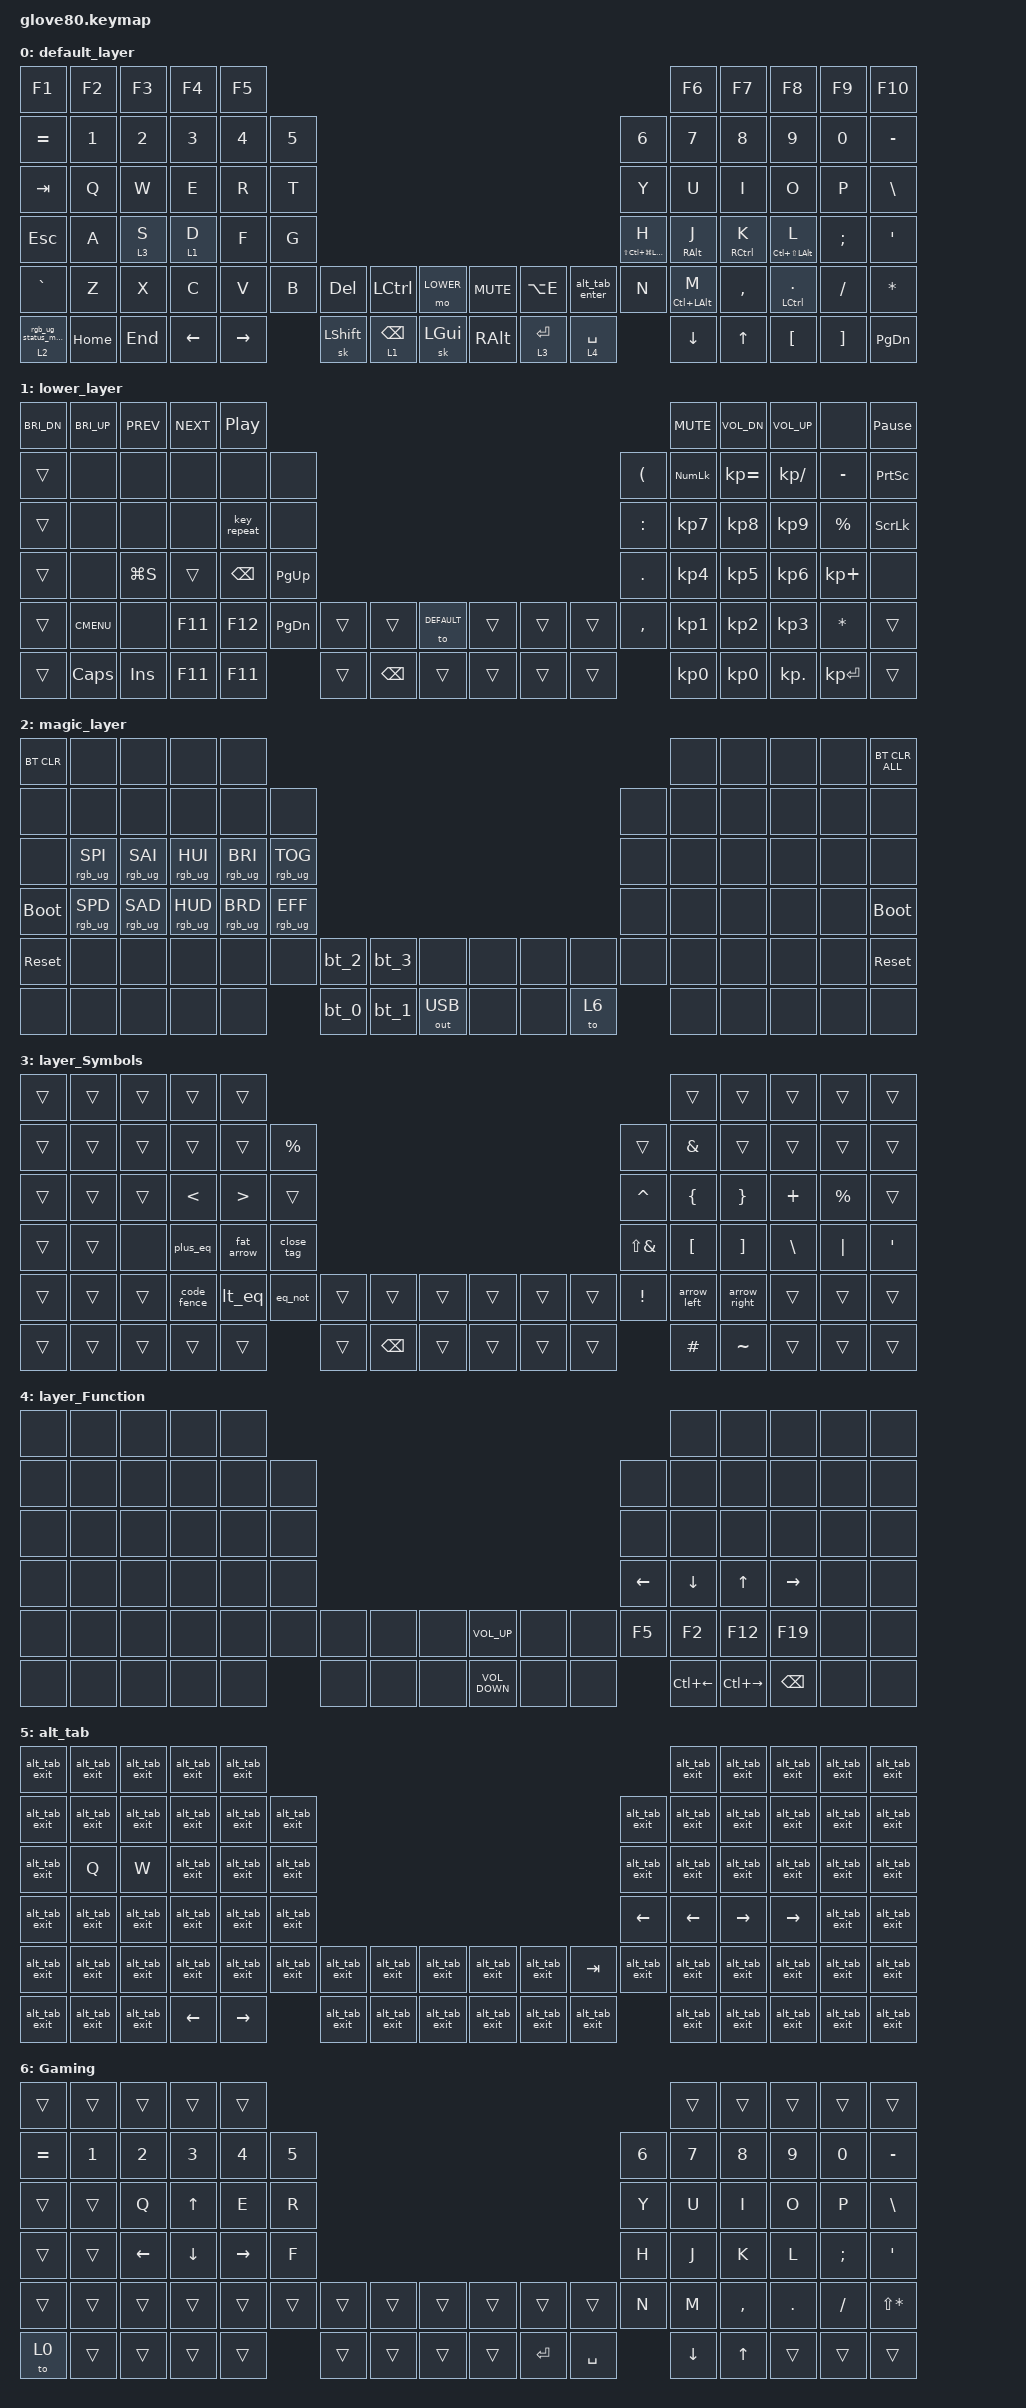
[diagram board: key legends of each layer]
/*
 * Copyright (c) 2020 The ZMK Contributors
 *
 * SPDX-License-Identifier: MIT
 */

#include <behaviors.dtsi>
#include <dt-bindings/zmk/bt.h>
#include <dt-bindings/zmk/keys.h>
#include <dt-bindings/zmk/outputs.h>
#include <dt-bindings/zmk/rgb.h>

#define HYPER LC(LS(LG(LALT)))

// layers

#define DEFAULT 0
#define LOWER 1
#define MAGIC 2
#define FACTORY_TEST 3

/* Custom Defined Behaviors */

#define HRM_QUICK_TAP_MS 0
#define HRM_TAPPING_TERM_MS 250
#define HRM_REQUIRE_IDLE_MS 150
#define COMBO_TIMEOUT_MS 50
#define MACRO_WAIT_MS 30
#define MACRO_TAP_MS 30

/ {
    behaviors {
        // For the "layer" key, it'd nice to be able to use it as either a shift or a toggle.
        // Configure it as a tap dance, so the first tap (or hold) is a &mo and the second tap is a &to

        layer_td: tap_dance_0 {
            compatible = "zmk,behavior-tap-dance";
            label = "LAYER_TAP_DANCE";
            #binding-cells = <0>;
            tapping-term-ms = <200>;
            bindings = <&mo LOWER>, <&to LOWER>;
        };

        magic: magic_hold_tap {
            compatible = "zmk,behavior-hold-tap";
            label = "MAGIC_HOLD_TAP";
            #binding-cells = <2>;
            flavor = "tap-preferred";
            tapping-term-ms = <200>;
            bindings = <&mo>, <&rgb_ug_status_macro>;
        };

        ht: hold_tap {
            compatible = "zmk,behavior-hold-tap";
            label = "HOMEROW_MODS";
            #binding-cells = <2>;
            tapping-term-ms = <HRM_TAPPING_TERM_MS>;
            quick-tap-ms = <HRM_QUICK_TAP_MS>;
            require-prior-idle-ms = <HRM_REQUIRE_IDLE_MS>;
            flavor = "tap-preferred";
            bindings = <&kp>, <&kp>;
        };
    };

    macros {
        rgb_ug_status_macro: rgb_ug_status_macro_0 {
            label = "RGB_UG_STATUS";
            compatible = "zmk,behavior-macro";
            #binding-cells = <0>;
            bindings = <&rgb_ug RGB_STATUS>;
        };

        bt_0: bt_profile_macro_0 {
            label = "BT_0";
            compatible = "zmk,behavior-macro";
            #binding-cells = <0>;
            bindings = <&out OUT_BLE &bt BT_SEL 0>;
        };

        bt_1: bt_profile_macro_1 {
            label = "BT_1";
            compatible = "zmk,behavior-macro";
            #binding-cells = <0>;
            bindings = <&out OUT_BLE &bt BT_SEL 1>;
        };

        bt_2: bt_profile_macro_2 {
            label = "BT_2";
            compatible = "zmk,behavior-macro";
            #binding-cells = <0>;
            bindings = <&out OUT_BLE &bt BT_SEL 2>;
        };

        bt_3: bt_profile_macro_3 {
            label = "BT_3";
            compatible = "zmk,behavior-macro";
            #binding-cells = <0>;
            bindings = <&out OUT_BLE &bt BT_SEL 3>;
        };

        fat_arrow: fat_arrow {
            label = "fat_arrow";
            compatible = "zmk,behavior-macro";
            wait-ms = <40>;
            tap-ms = <40>;
            #binding-cells = <0>;
            bindings = <&kp EQUAL &kp GREATER_THAN>;
        };

        arrow_left: arrow_left {
            compatible = "zmk,behavior-macro";
            #binding-cells = <0>;
            bindings = <&kp LT &kp MINUS>;
            label = "ARROW_LEFT";
        };

        arrow_right: arrow_right {
            compatible = "zmk,behavior-macro";
            #binding-cells = <0>;
            bindings = <&kp MINUS &kp GT>;
            label = "ARROW_RIGHT";
        };

        eq_colon: eq_colon {
            compatible = "zmk,behavior-macro";
            #binding-cells = <0>;
            bindings = <&kp COLON &kp EQUAL>;
            label = "EQ_COLON";
        };

        eq_not: eq_not {
            compatible = "zmk,behavior-macro";
            #binding-cells = <0>;
            bindings = <&kp EXCL &kp EQUAL>;
            label = "EQ_NOT";
        };

        enie_macro: enie_macro {
            compatible = "zmk,behavior-macro";
            #binding-cells = <0>;
            bindings = <&kp LA(N) &kp N>;
            label = "ENIE_MACRO";
        };

        alt_tab_enter: alt_tab_toggle {
            compatible = "zmk,behavior-macro";
            #binding-cells = <0>;
            bindings = <&kt LGUI &kp TAB &to 5>;
            label = "ALT_TAB_TOGGLE";
        };

        alt_tab_exit: alt_tab_exit {
            compatible = "zmk,behavior-macro";
            #binding-cells = <0>;
            bindings = <&kt LGUI &tog 5>;
            label = "ALT_TAB_EXIT";
        };

        code_fence: code_fence {
            compatible = "zmk,behavior-macro";
            #binding-cells = <0>;
            bindings = <&kp GRAVE &kp GRAVE &kp GRAVE>;
            label = "CODE_FENCE";
        };

        lt_eq: lt_eq {
            compatible = "zmk,behavior-macro";
            #binding-cells = <0>;
            bindings = <&kp LT &kp EQUAL>;
            label = "LT_EQ";
        };

        plus_eq: plus_eq {
            compatible = "zmk,behavior-macro";
            #binding-cells = <0>;
            bindings = <&kp PLUS &kp EQUAL>;
            label = "PLUS_EQ";
        };

        close_tag: close_tag {
            compatible = "zmk,behavior-macro";
            #binding-cells = <0>;
            bindings = <&kp FSLH &kp GT>;
            label = "CLOSE_TAG";
        };
    };

    combos {
        compatible = "zmk,combos";

        // Combo positions defined here:
        // https://github.com/moergo-sc/zmk/blob/main/app/boards/arm/glove80/glove80.dtsi#L24-L29

        combo_double_quote {
            bindings = <&kp LS(SQT)>;
            key-positions = <36 38>;
            layers = <0>;
            timeout-ms = <COMBO_TIMEOUT_MS>;
        };

        combo_rparen {
            bindings = <&kp RPAR>;
            key-positions = <42 43>;
            layers = <0>;
            timeout-ms = <COMBO_TIMEOUT_MS>;
        };

        combo_minus {
            bindings = <&kp MINUS>;
            key-positions = <41 43>;
            layers = <0>;
            timeout-ms = <COMBO_TIMEOUT_MS>;
        };

        combo_lparen {
            bindings = <&kp LPAR>;
            key-positions = <41 42>;
            layers = <0>;
            timeout-ms = <COMBO_TIMEOUT_MS>;
        };

        // Left hand bottom row: text editing

        combo_undo {
            bindings = <&kp LC(Z)>;
            key-positions = <47 48>;
            layers = <0>;
            timeout-ms = <COMBO_TIMEOUT_MS>;
        };

        combo_copy {
            bindings = <&kp RG(C)>;
            key-positions = <48 49>;
            layers = <0>;
            timeout-ms = <COMBO_TIMEOUT_MS>;
        };

        combo_cut {
            bindings = <&kp LG(X)>;
            key-positions = <50 48>;
            layers = <0>;
            timeout-ms = <COMBO_TIMEOUT_MS>;
        };

        combo_select_all {
            bindings = <&kp RG(A)>;
            key-positions = <47 50>;
            layers = <0>;
            timeout-ms = <COMBO_TIMEOUT_MS>;
        };

        combo_paste {
            bindings = <&kp RG(V)>;
            key-positions = <49 50>;
            layers = <0>;
            timeout-ms = <COMBO_TIMEOUT_MS>;
        };

        super_paste {
            bindings = <&kp RG(RA(V))>;
            key-positions = <50 51>;
            layers = <0>;
            timeout-ms = <COMBO_TIMEOUT_MS>;
        };

        dollar {
            bindings = <&kp DOLLAR>;
            key-positions = <58 59>;
        };

        brace_L {
            bindings = <&kp LEFT_BRACE>;
            key-positions = <59 60>;
        };

        brace_R {
            bindings = <&kp RIGHT_BRACE>;
            key-positions = <60 61>;
        };

        underscore {
            bindings = <&kp UNDERSCORE>;
            key-positions = <60 61 59>;
        };

        palote {
            bindings = <&kp PIPE>;
            key-positions = <42 59>;
            timeout-ms = <COMBO_TIMEOUT_MS>;
            layers = <0>;
        };

        arroba {
            bindings = <&kp AT_SIGN>;
            key-positions = <24 25>;
            timeout-ms = <COMBO_TIMEOUT_MS>;
            layers = <0>;
        };

        spa_tild {
            bindings = <&kp RA(E)>;
            key-positions = <37 38>;
        };

        enie {
            bindings = <&enie_macro>;
            key-positions = <58 40>;
        };

        l_bracket {
            bindings = <&kp LEFT_BRACKET>;
            key-positions = <41 40>;
            timeout-ms = <COMBO_TIMEOUT_MS>;
            layers = <0>;
        };

        r_bracket {
            bindings = <&kp RIGHT_BRACKET>;
            key-positions = <28 29>;
            timeout-ms = <COMBO_TIMEOUT_MS>;
            layers = <0>;
        };

        alt_control {
            bindings = <&sk LA(LEFT_CONTROL)>;
            key-positions = <25 26>;
        };

        equal {
            bindings = <&kp EQUAL>;
            key-positions = <41 30>;
        };

        tilde {
            bindings = <&kp TILDE>;
            key-positions = <31 29>;
        };
    };

    /* Automatically generated keymap */

    keymap {
        compatible = "zmk,keymap";

        default_layer {
            // ---------------------------------------------------------------------------------------------------------------------------------
            // |  F1   |  F2 |  F3 |  F4  |  F5  |                                                               |  F6   |  F7   |  F8  |   F9  |  F10 |
            // |  =    |  1  |  2  |  3   |  4   |  5   |                                                 |  6   |   7   |   8   |  9   |   0   |   -  |
            // |  TAB  |  Q  |  W  |  E   |  R   |  T   |                                                 |  Y   |   U   |   I   |  O   |   P   |   \  |
            // |  ESC  |  A  |  S  |  D   |  F   |  G   |                                                 |  H   |   J   |   K   |  L   |   ;   |   '  |
            // |   `   |  Z  |  X  |  C   |  V   |  B   | LSHFT | LCTRL | LOWER | | LGUI  | RCTRL | RSHFT |  N   |   M   |   ,   |  .   |   /   | PGUP |
            // | MAGIC | HOME| END | LEFT | RIGHT|      | BSPC  | DEL   | LALT  | | RALT  | RET   | SPACE |      |  UP   | DOWN  |  [   |   ]   | PGDN |

            bindings = <
&kp F1      &kp F2    &kp F3   &kp F4    &kp F5                                                                                                              &kp F6           &kp F7               &kp F8                &kp F9    &kp F10
&kp EQUAL   &kp N1    &kp N2   &kp N3    &kp N4     &kp N5                                                                           &kp N6                  &kp N7           &kp N8               &kp N9                &kp N0    &kp MINUS
&kp TAB     &kp Q     &kp W    &kp E     &kp R      &kp T                                                                            &kp Y                   &kp U            &kp I                &kp O                 &kp P     &kp BSLH
&kp ESC     &kp A     &lt 3 S  &lt 1 D   &kp F      &kp G                                                                            &ht LS(LC(LG(LALT))) H  &ht RIGHT_ALT J  &ht RIGHT_CONTROL K  &ht LC(LS(LALT)) L    &kp SEMI  &kp SQT
&kp GRAVE   &kp Z     &kp X    &kp C     &kp V      &kp B   &kp DEL    &kp LCTRL   &mo LOWER  &kp K_MUTE  &kp LA(E)  &alt_tab_enter  &kp N                   &ht LC(LALT) M   &kp COMMA            &ht LEFT_CONTROL DOT  &kp FSLH  &kp ASTERISK
&magic 2 0  &kp HOME  &kp END  &kp LEFT  &kp RIGHT          &sk LSHFT  &lt 1 BSPC  &sk LGUI   &kp RALT    &lt 3 RET  &lt 4 SPACE                             &kp DOWN         &kp UP               &kp LBKT              &kp RBKT  &kp PG_DN
            >;
        };

        lower_layer {
            bindings = <
&kp C_BRI_DN  &kp C_BRI_UP  &kp C_PREV  &kp C_NEXT  &kp C_PP                                                                                         &kp C_MUTE  &kp C_VOL_DN  &kp C_VOL_UP   &none         &kp PAUSE_BREAK
&trans        &none         &none       &none       &none          &none                                                                  &kp LPAR   &kp KP_NUM  &kp KP_EQUAL  &kp KP_DIVIDE  &kp MINUS     &kp PSCRN
&trans        &none         &none       &none       &key_repeat    &none                                                                  &kp COLON  &kp KP_N7   &kp KP_N8     &kp KP_N9      &kp PERCENT   &kp SLCK
&trans        &none         &kp LG(S)   &trans      &kp BACKSPACE  &kp PG_UP                                                              &kp DOT    &kp KP_N4   &kp KP_N5     &kp KP_N6      &kp KP_PLUS   &none
&trans        &kp K_CMENU   &none       &kp F11     &kp F12        &kp PG_DN  &trans  &trans         &to DEFAULT  &trans  &trans  &trans  &kp COMMA  &kp KP_N1   &kp KP_N2     &kp KP_N3      &kp STAR      &trans
&trans        &kp CAPS      &kp INS     &kp F11     &kp F11                   &trans  &kp BACKSPACE  &trans       &trans  &trans  &trans             &kp KP_N0   &kp KP_N0     &kp KP_DOT     &kp KP_ENTER  &trans
            >;
        };

        magic_layer {
            bindings = <
&bt BT_CLR   &none            &none            &none            &none                                                                                     &none  &none  &none  &none  &bt BT_CLR_ALL
&none        &none            &none            &none            &none            &none                                                             &none  &none  &none  &none  &none  &none
&none        &rgb_ug RGB_SPI  &rgb_ug RGB_SAI  &rgb_ug RGB_HUI  &rgb_ug RGB_BRI  &rgb_ug RGB_TOG                                                   &none  &none  &none  &none  &none  &none
&bootloader  &rgb_ug RGB_SPD  &rgb_ug RGB_SAD  &rgb_ug RGB_HUD  &rgb_ug RGB_BRD  &rgb_ug RGB_EFF                                                   &none  &none  &none  &none  &none  &bootloader
&sys_reset   &none            &none            &none            &none            &none            &bt_2  &bt_3  &none         &none  &none  &none  &none  &none  &none  &none  &none  &sys_reset
&none        &none            &none            &none            &none                             &bt_0  &bt_1  &out OUT_USB  &none  &none  &to 6         &none  &none  &none  &none  &none
            >;
        };

        layer_Symbols {
            bindings = <
&trans  &trans  &trans  &trans         &trans                                                                                                 &trans          &trans           &trans    &trans       &trans
&trans  &trans  &trans  &trans         &trans            &kp PERCENT                                                         &trans           &kp AMPERSAND   &trans           &trans    &trans       &trans
&trans  &trans  &trans  &kp LESS_THAN  &kp GREATER_THAN  &trans                                                              &kp CARET        &kp LEFT_BRACE  &kp RIGHT_BRACE  &kp PLUS  &kp PERCENT  &trans
&trans  &trans  &none   &plus_eq       &fat_arrow        &close_tag                                                          &kp LS(AMPS)     &kp LBKT        &kp RBKT         &kp BSLH  &kp PIPE     &kp SQT
&trans  &trans  &trans  &code_fence    &lt_eq            &eq_not      &trans  &trans         &trans  &trans  &trans  &trans  &kp EXCLAMATION  &arrow_left     &arrow_right     &trans    &trans       &trans
&trans  &trans  &trans  &trans         &trans                         &trans  &kp BACKSPACE  &trans  &trans  &trans  &trans                   &kp HASH        &kp TILDE        &trans    &trans       &trans
            >;
        };

        layer_Function {
            bindings = <
&none  &none  &none  &none  &none                                                                         &none         &none          &none          &none  &none
&none  &none  &none  &none  &none  &none                                                        &none     &none         &none          &none          &none  &none
&none  &none  &none  &none  &none  &none                                                        &none     &none         &none          &none          &none  &none
&none  &none  &none  &none  &none  &none                                                        &kp LEFT  &kp DOWN      &kp UP_ARROW   &kp RIGHT      &none  &none
&none  &none  &none  &none  &none  &none  &none  &none  &none  &kp C_VOLUME_UP    &none  &none  &kp F5    &kp F2        &kp F12        &kp F19        &none  &none
&none  &none  &none  &none  &none         &none  &none  &none  &kp C_VOLUME_DOWN  &none  &none            &kp LC(LEFT)  &kp LC(RIGHT)  &kp BACKSPACE  &none  &none
            >;
        };

        alt_tab {
            bindings = <
&alt_tab_exit  &alt_tab_exit  &alt_tab_exit  &alt_tab_exit   &alt_tab_exit                                                                                                                            &alt_tab_exit  &alt_tab_exit  &alt_tab_exit  &alt_tab_exit  &alt_tab_exit
&alt_tab_exit  &alt_tab_exit  &alt_tab_exit  &alt_tab_exit   &alt_tab_exit    &alt_tab_exit                                                                                            &alt_tab_exit  &alt_tab_exit  &alt_tab_exit  &alt_tab_exit  &alt_tab_exit  &alt_tab_exit
&alt_tab_exit  &kp Q          &kp W          &alt_tab_exit   &alt_tab_exit    &alt_tab_exit                                                                                            &alt_tab_exit  &alt_tab_exit  &alt_tab_exit  &alt_tab_exit  &alt_tab_exit  &alt_tab_exit
&alt_tab_exit  &alt_tab_exit  &alt_tab_exit  &alt_tab_exit   &alt_tab_exit    &alt_tab_exit                                                                                            &kp LEFT       &kp LEFT       &kp RIGHT      &kp RIGHT      &alt_tab_exit  &alt_tab_exit
&alt_tab_exit  &alt_tab_exit  &alt_tab_exit  &alt_tab_exit   &alt_tab_exit    &alt_tab_exit  &alt_tab_exit  &alt_tab_exit  &alt_tab_exit  &alt_tab_exit  &alt_tab_exit  &kp TAB        &alt_tab_exit  &alt_tab_exit  &alt_tab_exit  &alt_tab_exit  &alt_tab_exit  &alt_tab_exit
&alt_tab_exit  &alt_tab_exit  &alt_tab_exit  &kp LEFT_ARROW  &kp RIGHT_ARROW                 &alt_tab_exit  &alt_tab_exit  &alt_tab_exit  &alt_tab_exit  &alt_tab_exit  &alt_tab_exit                 &alt_tab_exit  &alt_tab_exit  &alt_tab_exit  &alt_tab_exit  &alt_tab_exit
            >;
        };

        Gaming {
            bindings = <
&trans     &trans  &trans    &trans    &trans                                                                           &trans    &trans        &trans   &trans    &trans
&kp EQUAL  &kp N1  &kp N2    &kp N3    &kp N4     &kp N5                                                        &kp N6  &kp N7    &kp N8        &kp N9   &kp N0    &kp MINUS
&trans     &trans  &kp Q     &kp UP    &kp E      &kp R                                                         &kp Y   &kp U     &kp I         &kp O    &kp P     &kp BSLH
&trans     &trans  &kp LEFT  &kp DOWN  &kp RIGHT  &kp F                                                         &kp H   &kp J     &kp K         &kp L    &kp SEMI  &kp SQT
&trans     &trans  &trans    &trans    &trans     &trans  &trans  &trans  &trans  &trans  &trans     &trans     &kp N   &kp M     &kp COMMA     &kp DOT  &kp FSLH  &kp LS(STAR)
&to 0      &trans  &trans    &trans    &trans             &trans  &trans  &trans  &trans  &kp ENTER  &kp SPACE          &kp DOWN  &kp UP_ARROW  &trans   &trans    &trans
            >;
        };
    };
};
